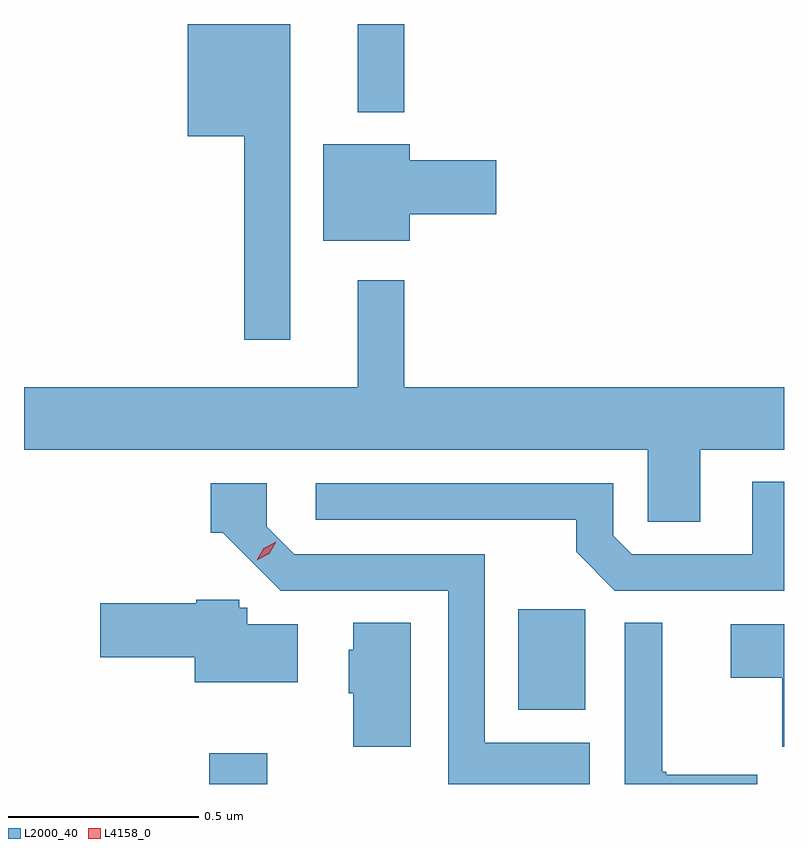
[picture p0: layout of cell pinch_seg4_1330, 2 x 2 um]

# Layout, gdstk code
import gdstk
lib = gdstk.Library(unit=1e-6, precision=1e-09)
def R(c, l, rs):  # rectangles x0, y0, x1, y1
    for r in rs: c.add(gdstk.rectangle(r[:2], r[2:], *l))
def P(c, l, *ps):  # polygons
    for p in ps: c.add(gdstk.Polygon(p, *l))
L2000_40 = (2000, 40)
L4158_0 = (4158, 0)

pinch_seg4_1330 = lib.new_cell('pinch_seg4_1330')
R(pinch_seg4_1330, L2000_40, [(376.967,770.632,377.119,770.713), (377.78,770.828,377.956,771.092), (377.357,772.4,377.479,772.632)])
P(pinch_seg4_1330, L2000_40, [(377.179,772.632),(376.91,772.632),(376.91,772.337),(377.058,772.337),(377.058,771.801),(377.179,771.801)],
  [(377.494,772.132),(377.722,772.132),(377.722,772.274),(377.494,772.274),(377.494,772.315),(377.267,772.315),(377.267,772.061),(377.494,772.061)],
  [(378.259,771.512),(378.479,771.512),(378.479,771.676),(377.479,771.676),(377.479,771.958),(377.357,771.958),(377.357,771.676),(376.479,771.676),(376.479,771.512),(378.12,771.512),(378.12,771.322),(378.259,771.322)],
  [(378.479,771.427),(378.395,771.427),(378.395,771.237),(378.078,771.237),(378.03,771.285),(378.03,771.423),(377.247,771.423),(377.247,771.327),(377.932,771.327),(377.932,771.243),(378.033,771.141),(378.479,771.141)],
  [(377.968,770.74),(377.691,770.74),(377.691,771.237),(377.19,771.237),(377.118,771.309),(377.118,771.423),(376.971,771.423),(376.971,771.293),(377.002,771.293),(377.154,771.141),(377.595,771.141),(377.595,770.632),(377.968,770.632)],
  [(377.2,771.052),(377.067,771.052),(377.067,771.096),(377.046,771.096),(377.046,771.117),(376.932,771.117),(376.932,771.108),(376.68,771.108),(376.68,770.966),(376.928,770.966),(376.928,770.9),(377.2,770.9)],
  [(377.497,771.056),(377.345,771.056),(377.345,770.985),(377.333,770.985),(377.333,770.871),(377.345,770.871),(377.345,770.73),(377.497,770.73)],
  [(378.409,770.656),(378.169,770.656),(378.169,770.664),(378.158,770.664),(378.158,771.056),(378.06,771.056),(378.06,770.632),(378.409,770.632)],
  [(378.479,771.052),(378.339,771.052),(378.339,770.912),(378.475,770.912),(378.475,770.73),(378.479,770.73)])
P(pinch_seg4_1330, L4158_0, [(377.091,771.221),(377.091,771.221),(377.11,771.253),(377.143,771.27),(377.143,771.27),(377.143,771.27),(377.124,771.238),(377.091,771.221)])

lib.write_gds('pinch_seg4_1330.gds')
